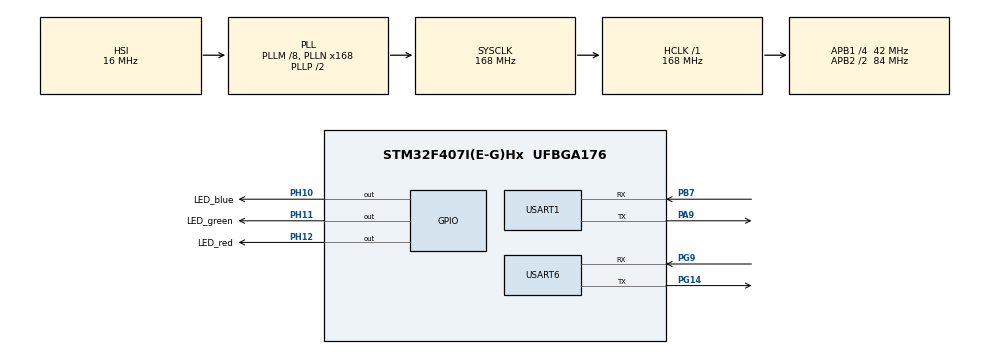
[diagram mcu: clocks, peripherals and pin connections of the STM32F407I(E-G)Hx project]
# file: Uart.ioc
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Dma.Request0=USART6_RX
Dma.Request1=USART6_TX
Dma.USART6_RX.0.Direction=DMA_PERIPH_TO_MEMORY
Dma.USART6_RX.0.FIFOMode=DMA_FIFOMODE_DISABLE
Dma.USART6_RX.0.Instance=DMA2_Stream1
Dma.USART6_RX.0.MemDataAlignment=DMA_MDATAALIGN_BYTE
Dma.USART6_RX.0.MemInc=DMA_MINC_ENABLE
Dma.USART6_RX.0.Mode=DMA_NORMAL
Dma.USART6_RX.0.PeriphDataAlignment=DMA_PDATAALIGN_BYTE
Dma.USART6_RX.0.PeriphInc=DMA_PINC_DISABLE
Dma.USART6_RX.0.Priority=DMA_PRIORITY_LOW
Dma.USART6_TX.1.Direction=DMA_MEMORY_TO_PERIPH
Dma.USART6_TX.1.FIFOMode=DMA_FIFOMODE_DISABLE
Dma.USART6_TX.1.Instance=DMA2_Stream6
Dma.USART6_TX.1.MemDataAlignment=DMA_MDATAALIGN_BYTE
Dma.USART6_TX.1.MemInc=DMA_MINC_ENABLE
Dma.USART6_TX.1.Mode=DMA_NORMAL
Dma.USART6_TX.1.PeriphDataAlignment=DMA_PDATAALIGN_BYTE
Dma.USART6_TX.1.PeriphInc=DMA_PINC_DISABLE
Dma.USART6_TX.1.Priority=DMA_PRIORITY_LOW
Mcu.Family=STM32F4
Mcu.Name=STM32F407I(E-G)Hx
Mcu.Package=UFBGA176
NVIC.DMA2_Stream1_IRQn=true\:0\:0\:false\:false\:true\:false\:true\:true
NVIC.DMA2_Stream6_IRQn=true\:0\:0\:false\:false\:true\:false\:true\:true
NVIC.PriorityGroup=NVIC_PRIORITYGROUP_4
NVIC.USART1_IRQn=true\:0\:0\:false\:false\:true\:false\:true\:true
NVIC.USART6_IRQn=true\:0\:0\:false\:false\:true\:true\:true\:true
PA13.Mode=Serial_Wire
PA13.Signal=SYS_JTMS-SWDIO
PA14.Mode=Serial_Wire
PA14.Signal=SYS_JTCK-SWCLK
PA9.Mode=Asynchronous
PA9.Signal=USART1_TX
PB7.Mode=Asynchronous
PB7.Signal=USART1_RX
PC14-OSC32_IN.Mode=LSE-External-Oscillator
PC14-OSC32_IN.Signal=RCC_OSC32_IN
PC15-OSC32_OUT.Mode=LSE-External-Oscillator
PC15-OSC32_OUT.Signal=RCC_OSC32_OUT
PG14.Mode=Asynchronous
PG14.Signal=USART6_TX
PG9.Mode=Asynchronous
PG9.Signal=USART6_RX
PH0-OSC_IN.Mode=HSE-External-Oscillator
PH0-OSC_IN.Signal=RCC_OSC_IN
PH1-OSC_OUT.Mode=HSE-External-Oscillator
PH1-OSC_OUT.Signal=RCC_OSC_OUT
PH10.GPIO_Label=LED_blue
PH10.GPIO_PuPd=GPIO_PULLUP
PH10.GPIO_Speed=GPIO_SPEED_FREQ_HIGH
PH10.PinState=GPIO_PIN_SET
PH10.Signal=GPIO_Output
PH11.GPIO_Label=LED_green
PH11.GPIO_PuPd=GPIO_PULLUP
PH11.GPIO_Speed=GPIO_SPEED_FREQ_HIGH
PH11.PinState=GPIO_PIN_SET
PH11.Signal=GPIO_Output
PH12.GPIO_Label=LED_red
PH12.GPIO_PuPd=GPIO_PULLUP
PH12.GPIO_Speed=GPIO_SPEED_FREQ_HIGH
PH12.PinState=GPIO_PIN_SET
PH12.Signal=GPIO_Output
ProjectManager.HeapSize=0x200
ProjectManager.StackSize=0x400
ProjectManager.TargetToolchain=MDK-ARM V5.32
RCC.48MHZClocksFreq_Value=84000000
RCC.AHBFreq_Value=168000000
RCC.APB1CLKDivider=RCC_HCLK_DIV4
RCC.APB1Freq_Value=42000000
RCC.APB1TimFreq_Value=84000000
RCC.APB2CLKDivider=RCC_HCLK_DIV2
RCC.APB2Freq_Value=84000000
RCC.APB2TimFreq_Value=168000000
RCC.CortexFreq_Value=168000000
RCC.HCLKFreq_Value=168000000
RCC.HSE_VALUE=25000000
RCC.HSI_VALUE=16000000
RCC.PLLM=8
RCC.PLLN=168
RCC.SYSCLKFreq_VALUE=168000000
RCC.SYSCLKSource=RCC_SYSCLKSOURCE_PLLCLK
RCC.VCOOutputFreq_Value=336000000
USART1.VirtualMode=VM_ASYNC
USART6.VirtualMode=VM_ASYNC
board=custom

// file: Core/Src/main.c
/* USER CODE BEGIN Header */
/**
  ******************************************************************************
  * @file           : main.c
  * @brief          : Main program body
  ******************************************************************************
  * @attention
  *
  * Copyright (c) 2025 STMicroelectronics.
  * All rights reserved.
  *
  * This software is licensed under terms that can be found in the LICENSE file
  * in the root directory of this software component.
  * If no LICENSE file comes with this software, it is provided AS-IS.
  *
  ******************************************************************************
  */
/* USER CODE END Header */
#include "main.h"
#include "dma.h"
#include "usart.h"
#include "gpio.h"

/* USER CODE BEGIN Includes */
#include <stdio.h>
#include <stdarg.h>
#include "string.h"
/* USER CODE END Includes */

/* USER CODE BEGIN PV */
uint8_t Uartbuffer[100];
char message[] = "HelloWorld\r\n";
/* USER CODE END PV */

void SystemClock_Config(void);

/* USER CODE BEGIN 0 */
//////////////////////////////////////////////////////////////////////

//To receive and transmit: //

/**************************************************************** */
//Why the function of IRQ is invalid?
//Because the port has been connected reversely.

//To notion: the IRQHandler function need to cancle its origin in it.c text.
/*************************************************************** */

void USART1_IRQHandler(void)
{
    volatile uint8_t receive;
    //receive interrupt
    if(huart1.Instance->SR & UART_FLAG_RXNE)
    {
        receive = huart1.Instance->DR;
        HAL_GPIO_TogglePin(LED_blue_GPIO_Port, LED_blue_Pin);

    }
    //idle interrupt
    else if(huart1.Instance->SR & UART_FLAG_IDLE)
    {
        receive = huart1.Instance->DR;
        HAL_GPIO_WritePin(LED_blue_GPIO_Port, LED_blue_Pin, GPIO_PIN_RESET);
    }

}
void USART6_IRQHandler(void)
{
    volatile uint8_t receive;
    //receive interrupt
    if(huart6.Instance->SR & UART_FLAG_RXNE)
    {
        receive = huart6.Instance->DR;
        HAL_GPIO_TogglePin(LED_green_GPIO_Port, LED_green_Pin);

    }
    //idle interrupt
    else if(huart6.Instance->SR & UART_FLAG_IDLE)
    {
        receive = huart6.Instance->DR;
        HAL_GPIO_WritePin(LED_green_GPIO_Port, LED_green_Pin, GPIO_PIN_RESET);
    }

}

///****************************************To testify the dma receive and send function**************************************************************** */
//  void USART6_IRQHandler(void)
// {

//    HAL_UART_Transmit_DMA(&huart6, Uartbuffer, 2);

//    if(Uartbuffer[0] == '1')
//    {
//       HAL_GPIO_TogglePin(LED_blue_GPIO_Port, LED_blue_Pin);
//    }

//    HAL_UART_Receive_DMA(&huart6, Uartbuffer, 2);

// }

/* USER CODE END 0 */

int main(void)
{

  /* MCU Configuration--------------------------------------------------------*/

  /* Reset of all peripherals, Initializes the Flash interface and the Systick. */
  HAL_Init();

  /* Configure the system clock */
  SystemClock_Config();

  /* Initialize all configured peripherals */
  MX_GPIO_Init();
  MX_DMA_Init();
  MX_USART1_UART_Init();
  MX_USART6_UART_Init();
  /* USER CODE BEGIN 2 */
	  HAL_GPIO_WritePin(LED_red_GPIO_Port, LED_red_Pin, GPIO_PIN_RESET);
    HAL_GPIO_WritePin(LED_green_GPIO_Port, LED_green_Pin, GPIO_PIN_RESET);
    HAL_GPIO_WritePin(LED_blue_GPIO_Port, LED_blue_Pin, GPIO_PIN_RESET);
	//enable the idle and rxne interruption
	  __HAL_UART_ENABLE_IT(&huart1, UART_IT_RXNE);
    __HAL_UART_ENABLE_IT(&huart1, UART_IT_IDLE);
    __HAL_UART_ENABLE_IT(&huart6, UART_IT_RXNE);
    __HAL_UART_ENABLE_IT(&huart6, UART_IT_IDLE);

    HAL_UART_Receive_DMA(&huart6, Uartbuffer, 2);
  /* USER CODE END 2 */

  /* Infinite loop */
  /* USER CODE BEGIN WHILE */
  while (1)
  {
    /////////////////////////////**************To testify the send function******************************************** */
    // HAL_UART_Transmit(&huart6, (uint8_t*)message, strlen(message), 100);
    // HAL_Delay(1000);
    /* USER CODE END WHILE */

    /* USER CODE BEGIN 3 */
//***************************************To testify the uart of interrupt************************************************************** */
			HAL_UART_Transmit(&huart6, "HelloWorld\r\n", 12, 100);
			HAL_Delay(100);
			HAL_UART_Transmit(&huart1, "BeginCoding\r\n", 12, 100);
			HAL_Delay(100);

  }
  /* USER CODE END 3 */
}

void SystemClock_Config(void)
{
  RCC_OscInitTypeDef RCC_OscInitStruct = {0};
  RCC_ClkInitTypeDef RCC_ClkInitStruct = {0};

  /** Configure the main internal regulator output voltage
  */
  __HAL_RCC_PWR_CLK_ENABLE();
  __HAL_PWR_VOLTAGESCALING_CONFIG(PWR_REGULATOR_VOLTAGE_SCALE1);

  /** Initializes the RCC Oscillators according to the specified parameters
  * in the RCC_OscInitTypeDef structure.
  */
  RCC_OscInitStruct.OscillatorType = RCC_OSCILLATORTYPE_HSI;
  RCC_OscInitStruct.HSIState = RCC_HSI_ON;
  RCC_OscInitStruct.HSICalibrationValue = RCC_HSICALIBRATION_DEFAULT;
  RCC_OscInitStruct.PLL.PLLState = RCC_PLL_ON;
  RCC_OscInitStruct.PLL.PLLSource = RCC_PLLSOURCE_HSI;
  RCC_OscInitStruct.PLL.PLLM = 8;
  RCC_OscInitStruct.PLL.PLLN = 168;
  RCC_OscInitStruct.PLL.PLLP = RCC_PLLP_DIV2;
  RCC_OscInitStruct.PLL.PLLQ = 4;
  if (HAL_RCC_OscConfig(&RCC_OscInitStruct) != HAL_OK)
  {
    Error_Handler();
  }

  /** Initializes the CPU, AHB and APB buses clocks
  */
  RCC_ClkInitStruct.ClockType = RCC_CLOCKTYPE_HCLK|RCC_CLOCKTYPE_SYSCLK
                              |RCC_CLOCKTYPE_PCLK1|RCC_CLOCKTYPE_PCLK2;
  RCC_ClkInitStruct.SYSCLKSource = RCC_SYSCLKSOURCE_PLLCLK;
  RCC_ClkInitStruct.AHBCLKDivider = RCC_SYSCLK_DIV1;
  RCC_ClkInitStruct.APB1CLKDivider = RCC_HCLK_DIV4;
  RCC_ClkInitStruct.APB2CLKDivider = RCC_HCLK_DIV2;

  if (HAL_RCC_ClockConfig(&RCC_ClkInitStruct, FLASH_LATENCY_5) != HAL_OK)
  {
    Error_Handler();
  }
}

void Error_Handler(void)
{
  __disable_irq();
  while (1)
  {
  }
}
